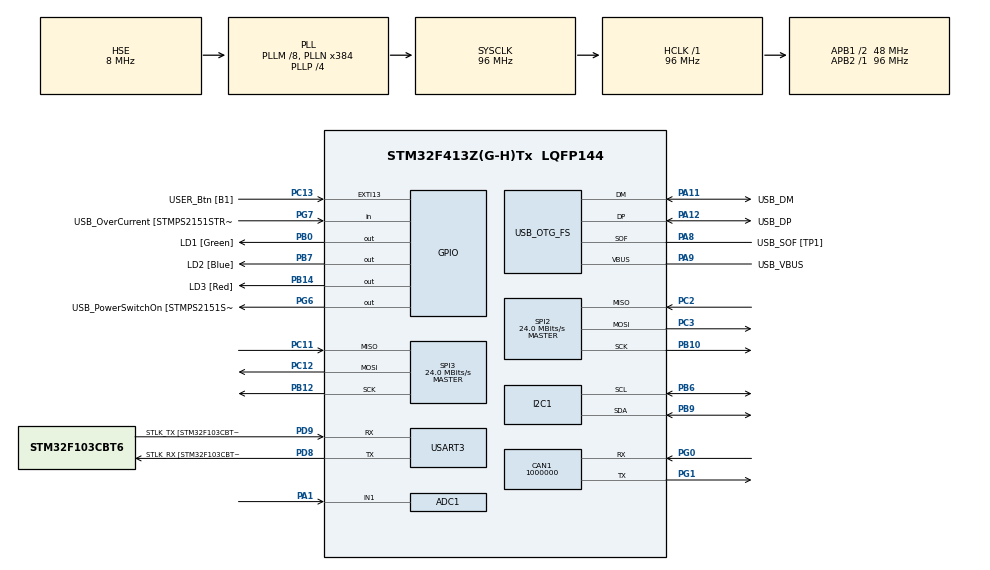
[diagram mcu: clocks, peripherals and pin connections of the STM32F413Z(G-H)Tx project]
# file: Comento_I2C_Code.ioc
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ADC1.Channel-0\#ChannelRegularConversion=ADC_CHANNEL_1
ADC1.NbrOfConversionFlag=1
ADC1.Rank-0\#ChannelRegularConversion=1
ADC1.SamplingTime-0\#ChannelRegularConversion=ADC_SAMPLETIME_3CYCLES
ADC1.master=1
CAN1.CalculateBaudRate=1000000
CAN1.CalculateTimeBit=999.99
CAN1.CalculateTimeQuantum=333.3333333333333
Mcu.Family=STM32F4
Mcu.Name=STM32F413Z(G-H)Tx
Mcu.Package=LQFP144
NVIC.OTG_FS_IRQn=true\:0\:0\:false\:false\:true\:false\:true
NVIC.PriorityGroup=NVIC_PRIORITYGROUP_4
PA1.Signal=ADCx_IN1
PA10.GPIO_Label=USB_ID
PA10.Signal=USB_OTG_FS_ID
PA11.GPIO_Label=USB_DM
PA11.Mode=Device_Only
PA11.Signal=USB_OTG_FS_DM
PA12.GPIO_Label=USB_DP
PA12.Mode=Device_Only
PA12.Signal=USB_OTG_FS_DP
PA13.GPIO_Label=TMS
PA13.Mode=Serial_Wire
PA13.Signal=SYS_JTMS-SWDIO
PA14.GPIO_Label=TCK
PA14.Mode=Serial_Wire
PA14.Signal=SYS_JTCK-SWCLK
PA8.GPIO_Label=USB_SOF [TP1]
PA8.Mode=Activate_SOF_FS
PA8.Signal=USB_OTG_FS_SOF
PA9.GPIO_Label=USB_VBUS
PA9.Mode=Activate_VBUS
PA9.Signal=USB_OTG_FS_VBUS
PB0.GPIO_Label=LD1 [Green]
PB0.Signal=GPIO_Output
PB10.Mode=Full_Duplex_Master
PB10.Signal=SPI2_SCK
PB12.Mode=Full_Duplex_Master
PB12.Signal=SPI3_SCK
PB14.GPIO_Label=LD3 [Red]
PB14.Signal=GPIO_Output
PB3.GPIO_Label=SWO
PB3.Signal=SYS_JTDO-SWO
PB6.Mode=I2C
PB6.Signal=I2C1_SCL
PB7.GPIO_Label=LD2 [Blue]
PB7.Signal=GPIO_Output
PB9.Mode=I2C
PB9.Signal=I2C1_SDA
PC11.Mode=Full_Duplex_Master
PC11.Signal=SPI3_MISO
PC12.Mode=Full_Duplex_Master
PC12.Signal=SPI3_MOSI
PC13.GPIO_Label=USER_Btn [B1]
PC13.Signal=GPXTI13
PC14-OSC32_IN.Mode=LSE-External-Oscillator
PC14-OSC32_IN.Signal=RCC_OSC32_IN
PC15-OSC32_OUT.Mode=LSE-External-Oscillator
PC15-OSC32_OUT.Signal=RCC_OSC32_OUT
PC2.Mode=Full_Duplex_Master
PC2.Signal=SPI2_MISO
PC3.Mode=Full_Duplex_Master
PC3.Signal=SPI2_MOSI
PD8.GPIO_Label=STLK_RX [STM32F103CBT6_PA3]
PD8.Mode=Asynchronous
PD8.Signal=USART3_TX
PD9.GPIO_Label=STLK_TX [STM32F103CBT6_PA2]
PD9.Mode=Asynchronous
PD9.Signal=USART3_RX
PG0.Mode=CAN_Activate
PG0.Signal=CAN1_RX
PG1.Mode=CAN_Activate
PG1.Signal=CAN1_TX
PG6.GPIO_Label=USB_PowerSwitchOn [STMPS2151STR_EN]
PG6.Signal=GPIO_Output
PG7.GPIO_Label=USB_OverCurrent [STMPS2151STR_FAULT]
PG7.Signal=GPIO_Input
PH0\ -\ OSC_IN.GPIO_Label=MCO
PH0\ -\ OSC_IN.Mode=HSE-External-Clock-Source
PH0\ -\ OSC_IN.Signal=RCC_OSC_IN
PH1\ -\ OSC_OUT.Mode=HSE-External-Clock-Source
PH1\ -\ OSC_OUT.Signal=RCC_OSC_OUT
ProjectManager.HeapSize=0x200
ProjectManager.StackSize=0x400
ProjectManager.TargetToolchain=STM32CubeIDE
RCC.48MHZClocksFreq_Value=24000000
RCC.AHBFreq_Value=96000000
RCC.APB1CLKDivider=RCC_HCLK_DIV2
RCC.APB1Freq_Value=48000000
RCC.APB1TimFreq_Value=96000000
RCC.APB2Freq_Value=96000000
RCC.APB2TimFreq_Value=96000000
RCC.CortexFreq_Value=96000000
RCC.HCLKFreq_Value=96000000
RCC.HSE_VALUE=8000000
RCC.HSI_VALUE=16000000
RCC.PLLI2SM=4
RCC.PLLI2SN=200
RCC.PLLM=8
RCC.PLLMUL=RCC_PLL_MUL9
RCC.PLLN=384
RCC.PLLP=RCC_PLLP_DIV4
RCC.PLLQ=8
RCC.PRESCALERUSB=RCC_USBCLKSOURCE_PLL_DIV1_5
RCC.SYSCLKFreq_VALUE=96000000
RCC.SYSCLKSource=RCC_SYSCLKSOURCE_PLLCLK
RCC.SYSCLKSourceVirtual=RCC_SYSCLKSOURCE_PLLCLK
RCC.USBFreq_Value=48000000
RCC.VCOOutputFreq_Value=384000000
SH.ADCx_IN1.0=ADC1_IN1,IN1
SPI2.CalculateBaudRate=24.0 MBits/s
SPI2.Direction=SPI_DIRECTION_2LINES
SPI2.Mode=SPI_MODE_MASTER
SPI2.VirtualType=VM_MASTER
SPI3.CalculateBaudRate=24.0 MBits/s
SPI3.Direction=SPI_DIRECTION_2LINES
SPI3.Mode=SPI_MODE_MASTER
SPI3.VirtualType=VM_MASTER
USART3.VirtualMode=VM_ASYNC
USB_DEVICE.CLASS_NAME_FS=DFU
USB_DEVICE.VirtualMode=Dfu
USB_DEVICE.VirtualModeFS=Dfu_FS
USB_OTG_FS.VirtualMode=Device_Only
VP_USB_DEVICE_VS_USB_DEVICE_DFU_FS.Mode=DFU_FS
board=NUCLEO-F413ZH

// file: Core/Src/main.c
/* USER CODE BEGIN Header */
/**
  ******************************************************************************
  * @file           : main.c
  * @brief          : Main program body
  ******************************************************************************
  * @attention
  *
  * <h2><center>&copy; Copyright (c) 2025 STMicroelectronics.
  * All rights reserved.</center></h2>
  *
  * This software component is licensed by ST under BSD 3-Clause license,
  * the "License"; You may not use this file except in compliance with the
  * License. You may obtain a copy of the License at:
  *                        opensource.org/licenses/BSD-3-Clause
  *
  ******************************************************************************
  */
/* USER CODE END Header */
#include "main.h"
#include "usb_device.h"

/* USER CODE BEGIN PM */
enum Pmic {
  MP5424 = 0x01,
  TI234,
  NXP5664
};

#define PMICTYPE MP5424

#if (PMICTYPE == MP5424)
    #define SLAVEADDR 0X00 /* Slave Address를 datasheet를 보고 채워주세요 */
#endif

/* USER CODE END PM */

ADC_HandleTypeDef hadc1;

CAN_HandleTypeDef hcan1;

I2C_HandleTypeDef hi2c1;

SPI_HandleTypeDef hspi2;
SPI_HandleTypeDef hspi3;

UART_HandleTypeDef huart3;

void SystemClock_Config(void);
static void MX_GPIO_Init(void);
static void MX_USART3_UART_Init(void);
static void MX_CAN1_Init(void);
static void MX_I2C1_Init(void);
static void MX_SPI2_Init(void);
static void MX_SPI3_Init(void);
static void MX_ADC1_Init(void);

/* USER CODE BEGIN 0 */
uint8_t addr = SLAVEADDR;
/* USER CODE END 0 */

int main(void)
{

  /* MCU Configuration--------------------------------------------------------*/

  /* Reset of all peripherals, Initializes the Flash interface and the Systick. */
  HAL_Init();

  /* Configure the system clock */
  SystemClock_Config();

  /* Initialize all configured peripherals */
  MX_GPIO_Init();
  MX_USART3_UART_Init();
  MX_CAN1_Init();
  MX_I2C1_Init();
  MX_SPI2_Init();
  MX_SPI3_Init();
  MX_ADC1_Init();
  MX_USB_DEVICE_Init();
  /* USER CODE BEGIN 2 */

  uint8_t i2c_tx_data = 0;
  uint8_t i2c_tx_addr = 0;
  uint8_t i2c_rx_data = 0;
  uint8_t i2c_rx_addr = 0;

  union TEST1
  {
    uint8_t Pmic_data;
    struct{
        uint8_t a : 1;
        uint8_t b : 1;
        uint8_t c : 1;
        uint8_t d : 1;
        uint8_t e : 1;
        uint8_t f : 1;
        uint8_t g : 1;
        uint8_t h : 1;
    } field;
  } test1;

  /* USER CODE END 2 */

  /* Infinite loop */
  /* USER CODE BEGIN WHILE */
  while (1)
  {
	    test1.field.a = 1;
	    i2c_tx_data = test1.Pmic_data;
    /* USER CODE END WHILE */
	HAL_I2C_Master_Transmit(); /* 매개 변수를 채워주세요 */

	//HAL_I2C_Master_Receive(); /* 매개 변수를 채워주세요 */

  }
}

void SystemClock_Config(void)
{
  RCC_OscInitTypeDef RCC_OscInitStruct = {0};
  RCC_ClkInitTypeDef RCC_ClkInitStruct = {0};

  /** Configure the main internal regulator output voltage
  */
  __HAL_RCC_PWR_CLK_ENABLE();
  __HAL_PWR_VOLTAGESCALING_CONFIG(PWR_REGULATOR_VOLTAGE_SCALE1);
  /** Initializes the RCC Oscillators according to the specified parameters
  * in the RCC_OscInitTypeDef structure.
  */
  RCC_OscInitStruct.OscillatorType = RCC_OSCILLATORTYPE_HSE;
  RCC_OscInitStruct.HSEState = RCC_HSE_BYPASS;
  RCC_OscInitStruct.PLL.PLLState = RCC_PLL_ON;
  RCC_OscInitStruct.PLL.PLLSource = RCC_PLLSOURCE_HSE;
  RCC_OscInitStruct.PLL.PLLM = 8;
  RCC_OscInitStruct.PLL.PLLN = 384;
  RCC_OscInitStruct.PLL.PLLP = RCC_PLLP_DIV4;
  RCC_OscInitStruct.PLL.PLLQ = 8;
  RCC_OscInitStruct.PLL.PLLR = 2;
  if (HAL_RCC_OscConfig(&RCC_OscInitStruct) != HAL_OK)
  {
    Error_Handler();
  }
  /** Initializes the CPU, AHB and APB buses clocks
  */
  RCC_ClkInitStruct.ClockType = RCC_CLOCKTYPE_HCLK|RCC_CLOCKTYPE_SYSCLK
                              |RCC_CLOCKTYPE_PCLK1|RCC_CLOCKTYPE_PCLK2;
  RCC_ClkInitStruct.SYSCLKSource = RCC_SYSCLKSOURCE_PLLCLK;
  RCC_ClkInitStruct.AHBCLKDivider = RCC_SYSCLK_DIV1;
  RCC_ClkInitStruct.APB1CLKDivider = RCC_HCLK_DIV2;
  RCC_ClkInitStruct.APB2CLKDivider = RCC_HCLK_DIV1;

  if (HAL_RCC_ClockConfig(&RCC_ClkInitStruct, FLASH_LATENCY_3) != HAL_OK)
  {
    Error_Handler();
  }
}

static void MX_ADC1_Init(void)
{

  ADC_ChannelConfTypeDef sConfig = {0};

  /** Configure the global features of the ADC (Clock, Resolution, Data Alignment and number of conversion)
  */
  hadc1.Instance = ADC1;
  hadc1.Init.ClockPrescaler = ADC_CLOCK_SYNC_PCLK_DIV4;
  hadc1.Init.Resolution = ADC_RESOLUTION_12B;
  hadc1.Init.ScanConvMode = DISABLE;
  hadc1.Init.ContinuousConvMode = DISABLE;
  hadc1.Init.DiscontinuousConvMode = DISABLE;
  hadc1.Init.ExternalTrigConvEdge = ADC_EXTERNALTRIGCONVEDGE_NONE;
  hadc1.Init.ExternalTrigConv = ADC_SOFTWARE_START;
  hadc1.Init.DataAlign = ADC_DATAALIGN_RIGHT;
  hadc1.Init.NbrOfConversion = 1;
  hadc1.Init.DMAContinuousRequests = DISABLE;
  hadc1.Init.EOCSelection = ADC_EOC_SINGLE_CONV;
  if (HAL_ADC_Init(&hadc1) != HAL_OK)
  {
    Error_Handler();
  }
  /** Configure for the selected ADC regular channel its corresponding rank in the sequencer and its sample time.
  */
  sConfig.Channel = ADC_CHANNEL_1;
  sConfig.Rank = 1;
  sConfig.SamplingTime = ADC_SAMPLETIME_3CYCLES;
  if (HAL_ADC_ConfigChannel(&hadc1, &sConfig) != HAL_OK)
  {
    Error_Handler();
  }

}

static void MX_CAN1_Init(void)
{

  hcan1.Instance = CAN1;
  hcan1.Init.Prescaler = 16;
  hcan1.Init.Mode = CAN_MODE_NORMAL;
  hcan1.Init.SyncJumpWidth = CAN_SJW_1TQ;
  hcan1.Init.TimeSeg1 = CAN_BS1_1TQ;
  hcan1.Init.TimeSeg2 = CAN_BS2_1TQ;
  hcan1.Init.TimeTriggeredMode = DISABLE;
  hcan1.Init.AutoBusOff = DISABLE;
  hcan1.Init.AutoWakeUp = DISABLE;
  hcan1.Init.AutoRetransmission = DISABLE;
  hcan1.Init.ReceiveFifoLocked = DISABLE;
  hcan1.Init.TransmitFifoPriority = DISABLE;
  if (HAL_CAN_Init(&hcan1) != HAL_OK)
  {
    Error_Handler();
  }

}

static void MX_I2C1_Init(void)
{

  hi2c1.Instance = I2C1;
  hi2c1.Init.ClockSpeed = 100000;
  hi2c1.Init.DutyCycle = I2C_DUTYCYCLE_2;
  hi2c1.Init.OwnAddress1 = 0;
  hi2c1.Init.AddressingMode = I2C_ADDRESSINGMODE_7BIT;
  hi2c1.Init.DualAddressMode = I2C_DUALADDRESS_DISABLE;
  hi2c1.Init.OwnAddress2 = 0;
  hi2c1.Init.GeneralCallMode = I2C_GENERALCALL_DISABLE;
  hi2c1.Init.NoStretchMode = I2C_NOSTRETCH_DISABLE;
  if (HAL_I2C_Init(&hi2c1) != HAL_OK)
  {
    Error_Handler();
  }

}

static void MX_SPI2_Init(void)
{

  /* SPI2 parameter configuration*/
  hspi2.Instance = SPI2;
  hspi2.Init.Mode = SPI_MODE_MASTER;
  hspi2.Init.Direction = SPI_DIRECTION_2LINES;
  hspi2.Init.DataSize = SPI_DATASIZE_8BIT;
  hspi2.Init.CLKPolarity = SPI_POLARITY_LOW;
  hspi2.Init.CLKPhase = SPI_PHASE_1EDGE;
  hspi2.Init.NSS = SPI_NSS_SOFT;
  hspi2.Init.BaudRatePrescaler = SPI_BAUDRATEPRESCALER_2;
  hspi2.Init.FirstBit = SPI_FIRSTBIT_MSB;
  hspi2.Init.TIMode = SPI_TIMODE_DISABLE;
  hspi2.Init.CRCCalculation = SPI_CRCCALCULATION_DISABLE;
  hspi2.Init.CRCPolynomial = 10;
  if (HAL_SPI_Init(&hspi2) != HAL_OK)
  {
    Error_Handler();
  }

}

static void MX_SPI3_Init(void)
{

  /* SPI3 parameter configuration*/
  hspi3.Instance = SPI3;
  hspi3.Init.Mode = SPI_MODE_MASTER;
  hspi3.Init.Direction = SPI_DIRECTION_2LINES;
  hspi3.Init.DataSize = SPI_DATASIZE_8BIT;
  hspi3.Init.CLKPolarity = SPI_POLARITY_LOW;
  hspi3.Init.CLKPhase = SPI_PHASE_1EDGE;
  hspi3.Init.NSS = SPI_NSS_SOFT;
  hspi3.Init.BaudRatePrescaler = SPI_BAUDRATEPRESCALER_2;
  hspi3.Init.FirstBit = SPI_FIRSTBIT_MSB;
  hspi3.Init.TIMode = SPI_TIMODE_DISABLE;
  hspi3.Init.CRCCalculation = SPI_CRCCALCULATION_DISABLE;
  hspi3.Init.CRCPolynomial = 10;
  if (HAL_SPI_Init(&hspi3) != HAL_OK)
  {
    Error_Handler();
  }

}

static void MX_USART3_UART_Init(void)
{

  huart3.Instance = USART3;
  huart3.Init.BaudRate = 115200;
  huart3.Init.WordLength = UART_WORDLENGTH_8B;
  huart3.Init.StopBits = UART_STOPBITS_1;
  huart3.Init.Parity = UART_PARITY_NONE;
  huart3.Init.Mode = UART_MODE_TX_RX;
  huart3.Init.HwFlowCtl = UART_HWCONTROL_NONE;
  huart3.Init.OverSampling = UART_OVERSAMPLING_16;
  if (HAL_UART_Init(&huart3) != HAL_OK)
  {
    Error_Handler();
  }

}

static void MX_GPIO_Init(void)
{
  GPIO_InitTypeDef GPIO_InitStruct = {0};

  /* GPIO Ports Clock Enable */
  __HAL_RCC_GPIOC_CLK_ENABLE();
  __HAL_RCC_GPIOH_CLK_ENABLE();
  __HAL_RCC_GPIOA_CLK_ENABLE();
  __HAL_RCC_GPIOB_CLK_ENABLE();
  __HAL_RCC_GPIOG_CLK_ENABLE();
  __HAL_RCC_GPIOD_CLK_ENABLE();

  /*Configure GPIO pin Output Level */
  HAL_GPIO_WritePin(GPIOB, LD1_Pin|LD3_Pin|LD2_Pin, GPIO_PIN_RESET);

  /*Configure GPIO pin Output Level */
  HAL_GPIO_WritePin(USB_PowerSwitchOn_GPIO_Port, USB_PowerSwitchOn_Pin, GPIO_PIN_RESET);

  /*Configure GPIO pin : USER_Btn_Pin */
  GPIO_InitStruct.Pin = USER_Btn_Pin;
  GPIO_InitStruct.Mode = GPIO_MODE_IT_RISING;
  GPIO_InitStruct.Pull = GPIO_NOPULL;
  HAL_GPIO_Init(USER_Btn_GPIO_Port, &GPIO_InitStruct);

  /*Configure GPIO pins : LD1_Pin LD3_Pin LD2_Pin */
  GPIO_InitStruct.Pin = LD1_Pin|LD3_Pin|LD2_Pin;
  GPIO_InitStruct.Mode = GPIO_MODE_OUTPUT_PP;
  GPIO_InitStruct.Pull = GPIO_NOPULL;
  GPIO_InitStruct.Speed = GPIO_SPEED_FREQ_LOW;
  HAL_GPIO_Init(GPIOB, &GPIO_InitStruct);

  /*Configure GPIO pin : USB_PowerSwitchOn_Pin */
  GPIO_InitStruct.Pin = USB_PowerSwitchOn_Pin;
  GPIO_InitStruct.Mode = GPIO_MODE_OUTPUT_PP;
  GPIO_InitStruct.Pull = GPIO_NOPULL;
  GPIO_InitStruct.Speed = GPIO_SPEED_FREQ_LOW;
  HAL_GPIO_Init(USB_PowerSwitchOn_GPIO_Port, &GPIO_InitStruct);

  /*Configure GPIO pin : USB_OverCurrent_Pin */
  GPIO_InitStruct.Pin = USB_OverCurrent_Pin;
  GPIO_InitStruct.Mode = GPIO_MODE_INPUT;
  GPIO_InitStruct.Pull = GPIO_NOPULL;
  HAL_GPIO_Init(USB_OverCurrent_GPIO_Port, &GPIO_InitStruct);

}

void Error_Handler(void)
{
  __disable_irq();
  while (1)
  {
  }
}

/************************ (C) COPYRIGHT STMicroelectronics *****END OF FILE****/
